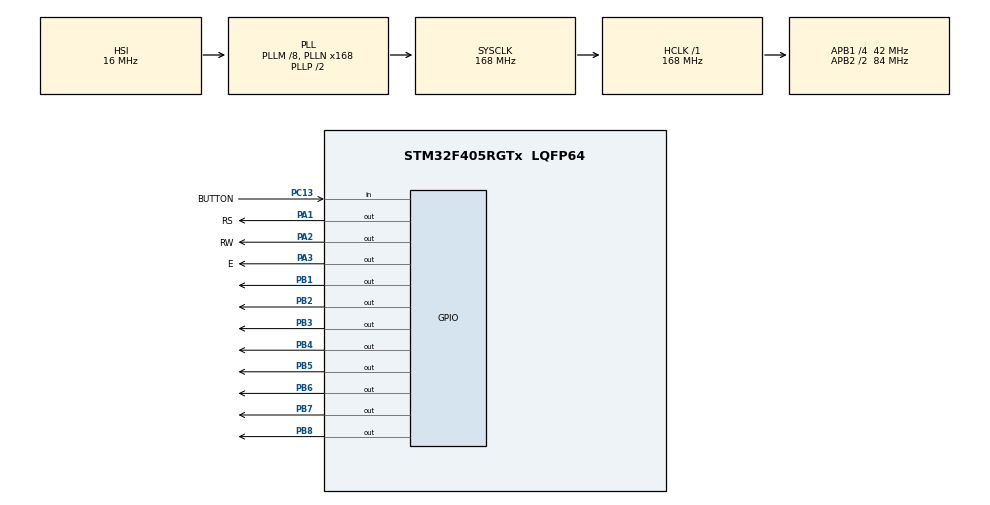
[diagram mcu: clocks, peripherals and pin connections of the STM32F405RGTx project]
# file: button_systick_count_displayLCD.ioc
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Mcu.Family=STM32F4
Mcu.Name=STM32F405RGTx
Mcu.Package=LQFP64
NVIC.PriorityGroup=NVIC_PRIORITYGROUP_4
PA1.GPIO_Label=RS
PA1.Signal=GPIO_Output
PA13.Mode=Serial_Wire
PA13.Signal=SYS_JTMS-SWDIO
PA14.Mode=Serial_Wire
PA14.Signal=SYS_JTCK-SWCLK
PA2.GPIO_Label=RW
PA2.Signal=GPIO_Output
PA3.GPIO_Label=E
PA3.Signal=GPIO_Output
PB1.Signal=GPIO_Output
PB2.Signal=GPIO_Output
PB3.Signal=GPIO_Output
PB4.Signal=GPIO_Output
PB5.Signal=GPIO_Output
PB6.Signal=GPIO_Output
PB7.Signal=GPIO_Output
PB8.Signal=GPIO_Output
PC13-ANTI_TAMP.GPIO_Label=BUTTON
PC13-ANTI_TAMP.GPIO_PuPd=GPIO_PULLDOWN
PC13-ANTI_TAMP.Signal=GPIO_Input
PC14-OSC32_IN.Mode=LSE-External-Oscillator
PC14-OSC32_IN.Signal=RCC_OSC32_IN
PC15-OSC32_OUT.Mode=LSE-External-Oscillator
PC15-OSC32_OUT.Signal=RCC_OSC32_OUT
PH0-OSC_IN.Mode=HSE-External-Oscillator
PH0-OSC_IN.Signal=RCC_OSC_IN
PH1-OSC_OUT.Mode=HSE-External-Oscillator
PH1-OSC_OUT.Signal=RCC_OSC_OUT
ProjectManager.HeapSize=0x200
ProjectManager.StackSize=0x400
ProjectManager.TargetToolchain=MDK-ARM V5.32
RCC.48MHZClocksFreq_Value=84000000
RCC.AHBFreq_Value=168000000
RCC.APB1CLKDivider=RCC_HCLK_DIV4
RCC.APB1Freq_Value=42000000
RCC.APB1TimFreq_Value=84000000
RCC.APB2CLKDivider=RCC_HCLK_DIV2
RCC.APB2Freq_Value=84000000
RCC.APB2TimFreq_Value=168000000
RCC.CortexFreq_Value=168000000
RCC.HCLKFreq_Value=168000000
RCC.HSE_VALUE=8000000
RCC.HSI_VALUE=16000000
RCC.PLLM=8
RCC.PLLN=168
RCC.SYSCLKFreq_VALUE=168000000
RCC.SYSCLKSource=RCC_SYSCLKSOURCE_PLLCLK
RCC.VCOOutputFreq_Value=336000000
board=custom

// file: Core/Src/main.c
/* USER CODE BEGIN Header */
/**
  ******************************************************************************
  * @file           : main.c
  * @brief          : Main program body
  ******************************************************************************
  * @attention
  *
  * Copyright (c) 2026 STMicroelectronics.
  * All rights reserved.
  *
  * This software is licensed under terms that can be found in the LICENSE file
  * in the root directory of this software component.
  * If no LICENSE file comes with this software, it is provided AS-IS.
  *
  ******************************************************************************
  */
/* USER CODE END Header */
#include "main.h"

/* USER CODE BEGIN PV */
volatile uint8_t button_pre;
volatile uint8_t button_sta;
volatile uint8_t cnt_debounce;
volatile uint8_t o_button_done;
volatile uint8_t cnt_tick_ms;
/* USER CODE END PV */

void SystemClock_Config(void);
static void MX_GPIO_Init(void);
/* USER CODE BEGIN PFP */
void LCD_Write_Byte(uint8_t byte,int mode);
void LCD_cmd(uint8_t cmd);
void LCD_Print_Char(char chr);
void LCD_Print_Str(char *ptr);
void LCD_Print_Num(uint8_t num);
void LCD_Init();
void LCD_SetCursor(uint8_t col, uint8_t row);
/* USER CODE END PFP */

int main(void)
{

  /* USER CODE BEGIN 1 */
	button_sta = HAL_GPIO_ReadPin(GPIOC, BUTTON_Pin);
	button_pre = button_sta;
	o_button_done = 0;
	cnt_tick_ms = 0;
	uint8_t count = 0;
  /* USER CODE END 1 */

  /* MCU Configuration--------------------------------------------------------*/

  /* Reset of all peripherals, Initializes the Flash interface and the Systick. */
  HAL_Init();

  /* Configure the system clock */
  SystemClock_Config();

  /* USER CODE BEGIN SysInit */
	SysTick->LOAD =167999;
	SysTick->VAL	=0;
	SysTick->CTRL |=(1u<<0) | (1u<<1) | (1u<<2); //	bit0 : ENABLE
																							 // bit1 : TICKINT
																							 // bit2 : CLKSOURCE (=1:Clock = HCLK)
  /* USER CODE END SysInit */

  /* Initialize all configured peripherals */
  MX_GPIO_Init();
  /* USER CODE BEGIN 2 */
	LCD_Init();
	LCD_SetCursor(3,0);
	LCD_Print_Str("NGOC DUNG");
  /* USER CODE END 2 */

  /* Infinite loop */
  /* USER CODE BEGIN WHILE */
  while (1)
  {
		if(o_button_done == 1){
			if(count < 15){
				count++;
			}
			else{
				count = 0;
			}
			o_button_done = 0;
		}
		else{
			count = count;
		}

		LCD_SetCursor(0,1);
		//LCD_Print_Num(count);
		LCD_Print_Str("Count:");

		LCD_SetCursor(6,1);
		LCD_Print_Num(count);
		LCD_SetCursor(12,1);
		LCD_Print_Str("Lap3");
		//LCD_Print_Num(cnt_tick_ms);
    /* USER CODE END WHILE */

  }
}

void SystemClock_Config(void)
{
  RCC_OscInitTypeDef RCC_OscInitStruct = {0};
  RCC_ClkInitTypeDef RCC_ClkInitStruct = {0};

  /** Configure the main internal regulator output voltage
  */
  __HAL_RCC_PWR_CLK_ENABLE();
  __HAL_PWR_VOLTAGESCALING_CONFIG(PWR_REGULATOR_VOLTAGE_SCALE1);

  /** Initializes the RCC Oscillators according to the specified parameters
  * in the RCC_OscInitTypeDef structure.
  */
  RCC_OscInitStruct.OscillatorType = RCC_OSCILLATORTYPE_HSI;
  RCC_OscInitStruct.HSIState = RCC_HSI_ON;
  RCC_OscInitStruct.HSICalibrationValue = RCC_HSICALIBRATION_DEFAULT;
  RCC_OscInitStruct.PLL.PLLState = RCC_PLL_ON;
  RCC_OscInitStruct.PLL.PLLSource = RCC_PLLSOURCE_HSI;
  RCC_OscInitStruct.PLL.PLLM = 8;
  RCC_OscInitStruct.PLL.PLLN = 168;
  RCC_OscInitStruct.PLL.PLLP = RCC_PLLP_DIV2;
  RCC_OscInitStruct.PLL.PLLQ = 4;
  if (HAL_RCC_OscConfig(&RCC_OscInitStruct) != HAL_OK)
  {
    Error_Handler();
  }

  /** Initializes the CPU, AHB and APB buses clocks
  */
  RCC_ClkInitStruct.ClockType = RCC_CLOCKTYPE_HCLK|RCC_CLOCKTYPE_SYSCLK
                              |RCC_CLOCKTYPE_PCLK1|RCC_CLOCKTYPE_PCLK2;
  RCC_ClkInitStruct.SYSCLKSource = RCC_SYSCLKSOURCE_PLLCLK;
  RCC_ClkInitStruct.AHBCLKDivider = RCC_SYSCLK_DIV1;
  RCC_ClkInitStruct.APB1CLKDivider = RCC_HCLK_DIV4;
  RCC_ClkInitStruct.APB2CLKDivider = RCC_HCLK_DIV2;

  if (HAL_RCC_ClockConfig(&RCC_ClkInitStruct, FLASH_LATENCY_5) != HAL_OK)
  {
    Error_Handler();
  }
}

static void MX_GPIO_Init(void)
{
  GPIO_InitTypeDef GPIO_InitStruct = {0};

  /* GPIO Ports Clock Enable */
  __HAL_RCC_GPIOC_CLK_ENABLE();
  __HAL_RCC_GPIOH_CLK_ENABLE();
  __HAL_RCC_GPIOA_CLK_ENABLE();
  __HAL_RCC_GPIOB_CLK_ENABLE();

  /*Configure GPIO pin Output Level */
  HAL_GPIO_WritePin(GPIOA, RS_Pin|RW_Pin|E_Pin, GPIO_PIN_RESET);

  /*Configure GPIO pin Output Level */
  HAL_GPIO_WritePin(GPIOB, GPIO_PIN_1|GPIO_PIN_2|GPIO_PIN_3|GPIO_PIN_4
                          |GPIO_PIN_5|GPIO_PIN_6|GPIO_PIN_7|GPIO_PIN_8, GPIO_PIN_RESET);

  /*Configure GPIO pin : BUTTON_Pin */
  GPIO_InitStruct.Pin = BUTTON_Pin;
  GPIO_InitStruct.Mode = GPIO_MODE_INPUT;
  GPIO_InitStruct.Pull = GPIO_PULLDOWN;
  HAL_GPIO_Init(BUTTON_GPIO_Port, &GPIO_InitStruct);

  /*Configure GPIO pins : RS_Pin RW_Pin E_Pin */
  GPIO_InitStruct.Pin = RS_Pin|RW_Pin|E_Pin;
  GPIO_InitStruct.Mode = GPIO_MODE_OUTPUT_PP;
  GPIO_InitStruct.Pull = GPIO_NOPULL;
  GPIO_InitStruct.Speed = GPIO_SPEED_FREQ_LOW;
  HAL_GPIO_Init(GPIOA, &GPIO_InitStruct);

  /*Configure GPIO pins : PB1 PB2 PB3 PB4
                           PB5 PB6 PB7 PB8 */
  GPIO_InitStruct.Pin = GPIO_PIN_1|GPIO_PIN_2|GPIO_PIN_3|GPIO_PIN_4
                          |GPIO_PIN_5|GPIO_PIN_6|GPIO_PIN_7|GPIO_PIN_8;
  GPIO_InitStruct.Mode = GPIO_MODE_OUTPUT_PP;
  GPIO_InitStruct.Pull = GPIO_NOPULL;
  GPIO_InitStruct.Speed = GPIO_SPEED_FREQ_LOW;
  HAL_GPIO_Init(GPIOB, &GPIO_InitStruct);

}

/* USER CODE BEGIN 4 */

void LCD_Write_Byte(uint8_t byte,int mode){
	HAL_GPIO_WritePin(GPIOA, RS_Pin, mode); // 0: dieu khien , 1: hien thi
	HAL_GPIO_WritePin(GPIOA, RW_Pin,0);// write

	HAL_GPIO_WritePin(GPIOB, GPIO_PIN_1, (byte & 0x01) ? 1 : 0);//PB1
	HAL_GPIO_WritePin(GPIOB, GPIO_PIN_2, (byte & 0x02) ? 1 : 0);//PB2
	HAL_GPIO_WritePin(GPIOB, GPIO_PIN_3, (byte & 0x04) ? 1 : 0);//PB3
	HAL_GPIO_WritePin(GPIOB, GPIO_PIN_4, (byte & 0x08) ? 1 : 0);//PB4
	HAL_GPIO_WritePin(GPIOB, GPIO_PIN_5, (byte & 0x10) ? 1 : 0);//PB5
	HAL_GPIO_WritePin(GPIOB, GPIO_PIN_6, (byte & 0x20) ? 1 : 0);//PB6
	HAL_GPIO_WritePin(GPIOB, GPIO_PIN_7, (byte & 0x40) ? 1 : 0);//PB7
	HAL_GPIO_WritePin(GPIOB, GPIO_PIN_8, (byte & 0x80) ? 1 : 0);//PB8

	HAL_GPIO_WritePin(GPIOA, E_Pin, 1);//E=1
	HAL_Delay(10);
	HAL_GPIO_WritePin(GPIOA, E_Pin, 0);//E=0
};

void LCD_cmd(uint8_t cmd){
	LCD_Write_Byte(cmd, 0);
};

void LCD_Print_Char(char chr){
	LCD_Write_Byte(chr, 1);
};

void LCD_Print_Str(char *ptr){
	while(*ptr){
		LCD_Print_Char(*ptr);
		ptr = ptr + 1;
	}
};
void LCD_Print_Num(uint8_t num){
	char arr[4];
		arr[0] = num/1000 + '0';
		arr[1] = num%1000/100 + '0';
		arr[2] = num/10 + '0';
		arr[3] = num%10 + '0';
	//LCD_Print_Str(arr);
	LCD_Print_Char(arr[0]);
	LCD_Print_Char(arr[1]);
	LCD_Print_Char(arr[2]);
	LCD_Print_Char(arr[3]);
}

void LCD_Init(){
	LCD_cmd(0x0C);
	LCD_cmd(0x38);
	LCD_cmd(0x80);
	LCD_cmd(0x01);
	HAL_Delay(10);
};

void LCD_SetCursor(uint8_t col, uint8_t row){
	uint8_t address;
	if(row==0){
		address = 0x80 + col;
		LCD_cmd(address);
	}
	else{
		address = 0xC0 + col;
		LCD_cmd(address);
	}
};
/* USER CODE END 4 */

void Error_Handler(void)
{
  __disable_irq();
  while (1)
  {
  }
}
